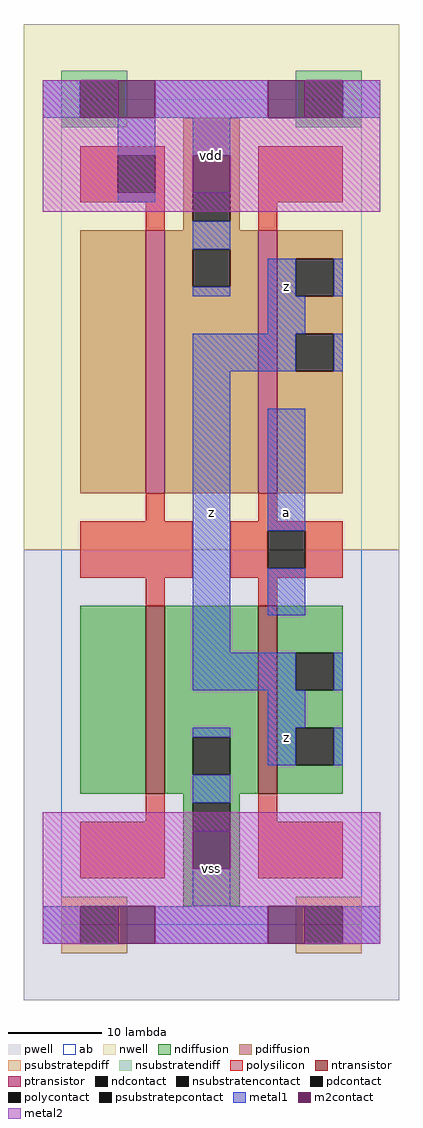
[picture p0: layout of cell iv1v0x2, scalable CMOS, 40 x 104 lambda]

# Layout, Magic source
magic
tech scmos
<< ab >>
rect 0 0 32 88
<< pwell >>
rect -4 -8 36 40
<< nwell >>
rect -4 40 36 96
<< polysilicon >>
rect 2 82 11 83
rect 2 78 6 82
rect 10 78 11 82
rect 2 77 11 78
rect 9 74 11 77
rect 21 77 30 83
rect 21 74 23 77
rect 9 43 11 46
rect 21 43 23 46
rect 2 37 14 43
rect 18 42 30 43
rect 18 38 22 42
rect 26 38 30 42
rect 18 37 30 38
rect 9 34 11 37
rect 21 34 23 37
rect 9 11 11 14
rect 2 5 11 11
rect 21 11 23 14
rect 21 5 30 11
<< ndiffusion >>
rect 2 14 9 34
rect 11 20 21 34
rect 11 16 14 20
rect 18 16 21 20
rect 11 14 21 16
rect 23 29 30 34
rect 23 25 25 29
rect 29 25 30 29
rect 23 21 30 25
rect 23 17 25 21
rect 29 17 30 21
rect 23 14 30 17
rect 13 13 19 14
rect 13 10 14 13
rect 18 10 19 13
rect 13 2 19 10
<< pdiffusion >>
rect 13 78 19 86
rect 13 75 14 78
rect 18 75 19 78
rect 13 74 19 75
rect 2 46 9 74
rect 11 72 21 74
rect 11 68 14 72
rect 18 68 21 72
rect 11 46 21 68
rect 23 71 30 74
rect 23 67 25 71
rect 29 67 30 71
rect 23 63 30 67
rect 23 59 25 63
rect 29 59 30 63
rect 23 46 30 59
<< metal1 >>
rect -2 86 2 90
rect 10 86 22 90
rect 30 86 34 90
rect 6 82 10 86
rect 6 77 10 78
rect 14 82 18 86
rect 14 72 18 75
rect 14 67 18 68
rect 22 67 25 71
rect 29 67 30 71
rect 22 63 26 67
rect 14 59 25 63
rect 29 59 30 63
rect 14 29 18 59
rect 22 42 26 55
rect 22 33 26 38
rect 14 25 25 29
rect 29 25 30 29
rect 22 21 26 25
rect 14 20 18 21
rect 22 17 25 21
rect 29 17 30 21
rect 14 13 18 16
rect 14 2 18 6
rect -2 -2 2 2
rect 10 -2 22 2
rect 30 -2 34 2
<< metal2 >>
rect -2 86 6 90
rect 10 86 22 90
rect 26 86 34 90
rect -2 82 34 86
rect -2 78 14 82
rect 18 78 34 82
rect -2 76 34 78
rect -2 10 34 12
rect -2 6 14 10
rect 18 6 34 10
rect -2 2 34 6
rect -2 -2 6 2
rect 10 -2 22 2
rect 26 -2 34 2
<< ntransistor >>
rect 9 14 11 34
rect 21 14 23 34
<< ptransistor >>
rect 9 46 11 74
rect 21 46 23 74
<< polycontact >>
rect 6 78 10 82
rect 22 38 26 42
<< ndcontact >>
rect 14 16 18 20
rect 25 25 29 29
rect 25 17 29 21
rect 14 10 18 13
<< pdcontact >>
rect 14 75 18 78
rect 14 68 18 72
rect 25 67 29 71
rect 25 59 29 63
<< m2contact >>
rect 6 86 10 90
rect 22 86 26 90
rect 14 78 18 82
rect 14 6 18 10
rect 6 -2 10 2
rect 22 -2 26 2
<< psubstratepcontact >>
rect 2 -2 6 2
rect 26 -2 30 2
<< nsubstratencontact >>
rect 2 86 6 90
rect 26 86 30 90
<< psubstratepdiff >>
rect 0 2 7 3
rect 25 2 32 3
rect 0 -2 2 2
rect 6 -2 7 2
rect 0 -3 7 -2
rect 25 -2 26 2
rect 30 -2 32 2
rect 25 -3 32 -2
<< nsubstratendiff >>
rect 0 90 7 91
rect 0 86 2 90
rect 6 86 7 90
rect 25 90 32 91
rect 25 86 26 90
rect 30 86 32 90
rect 0 85 7 86
rect 25 85 32 86
<< labels >>
rlabel metal1 16 44 16 44 6 z
rlabel metal1 24 20 24 20 6 z
rlabel metal1 24 44 24 44 6 a
rlabel metal1 24 68 24 68 6 z
rlabel metal2 16 6 16 6 6 vss
rlabel metal2 16 82 16 82 6 vdd
<< end >>
